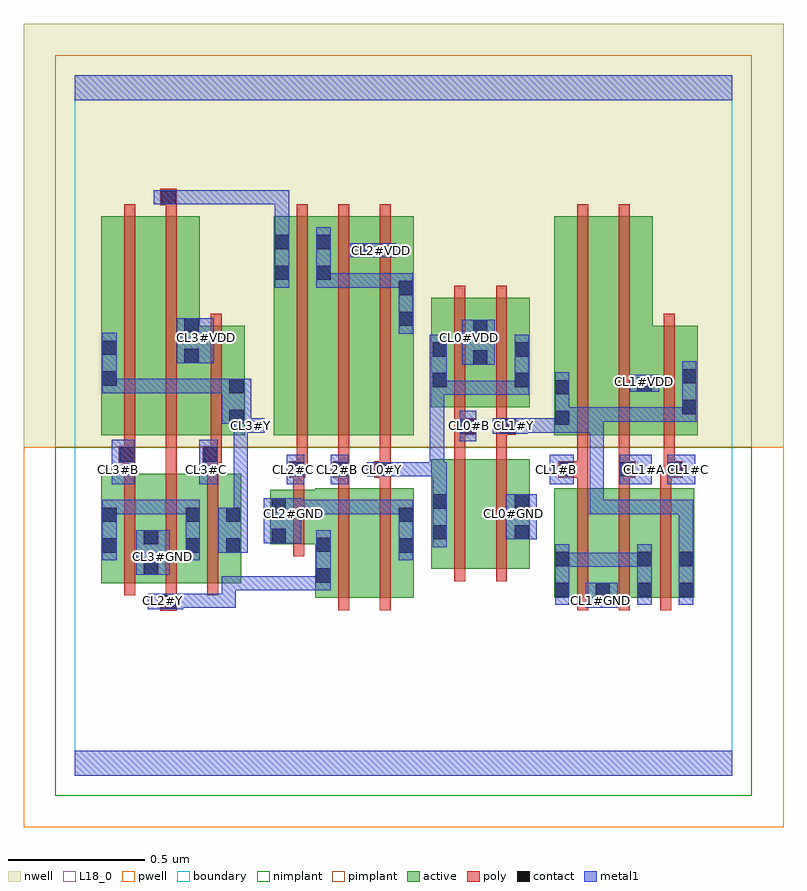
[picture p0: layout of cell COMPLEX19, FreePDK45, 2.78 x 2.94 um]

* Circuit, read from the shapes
.subckt COMPLEX19 CL0#B CL0#GND CL0#VDD CL0#Y CL1#A CL1#B CL1#C CL1#GND CL1#VDD CL1#Y CL2#B CL2#C CL2#GND CL2#VDD CL2#Y CL3#B CL3#C CL3#GND CL3#VDD CL3#Y
M1 CL3#GND CL3#B n1 VSUBS nfet w=0.4u l=0.04u
M2 n1 CL2#Y CL3#GND VSUBS nfet w=0.4u l=0.04u
M3 CL3#Y CL3#C n1 VSUBS nfet w=0.4u l=0.04u
M4 CL2#Y CL2#C CL2#GND VSUBS nfet w=0.2u l=0.04u
M5 n2 CL2#B CL2#Y VSUBS nfet w=0.4u l=0.04u
M6 CL2#GND CL0#Y n2 VSUBS nfet w=0.4u l=0.04u
M7 n3 CL0#B CL0#Y VSUBS nfet w=0.4u l=0.04u
M8 CL0#GND CL1#Y n3 VSUBS nfet w=0.4u l=0.04u
M9 CL1#GND CL1#B n4 VSUBS nfet w=0.4u l=0.04u
M10 n4 CL1#A CL1#GND VSUBS nfet w=0.4u l=0.04u
M11 CL1#Y CL1#C n4 VSUBS nfet w=0.4u l=0.04u
M12 n5 CL3#B CL3#Y n6 pfet w=0.8u l=0.04u
M13 CL3#VDD CL2#Y n5 n6 pfet w=0.8u l=0.04u
M14 CL3#Y CL3#C CL3#VDD n6 pfet w=0.4u l=0.04u
M15 n7 CL2#C CL2#Y n6 pfet w=0.8u l=0.04u
M16 CL2#VDD CL2#B n7 n6 pfet w=0.8u l=0.04u
M17 n7 CL0#Y CL2#VDD n6 pfet w=0.8u l=0.04u
M18 CL0#VDD CL0#B CL0#Y n6 pfet w=0.4u l=0.04u
M19 CL0#Y CL1#Y CL0#VDD n6 pfet w=0.4u l=0.04u
M20 n8 CL1#B CL1#Y n6 pfet w=0.8u l=0.04u
M21 CL1#VDD CL1#A n8 n6 pfet w=0.8u l=0.04u
M22 CL1#Y CL1#C CL1#VDD n6 pfet w=0.4u l=0.04u
.ends

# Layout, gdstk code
import gdstk
lib = gdstk.Library(unit=1e-6, precision=1e-09)
def R(c, l, rs):  # rectangles x0, y0, x1, y1
    for r in rs: c.add(gdstk.rectangle(r[:2], r[2:], *l))
def A(c, l, x, y, w, h, nx, ny, dx, dy):  # array of equal rectangles
    R(c, l, [(x+i*dx, y+j*dy, x+i*dx+w, y+j*dy+h) for i in range(nx) for j in range(ny)])
active = (1, 0)
pwell = (2, 0)
nwell = (3, 0)
nimplant = (4, 0)
pimplant = (5, 0)
poly = (9, 0)
contact = (10, 0)
metal1 = (11, 0)
L18_0 = (18, 0)
boundary = (235, 0)

complex19 = lib.new_cell('COMPLEX19')
A(complex19, active, 1.898, 0.65, 0.06, 0.4, 3, 1, 0.152, 0)
R(complex19, active, [(0.878,0.65,1.058,1.05), (0.878,0.65,0.938,0.874), (1.058,0.65,1.238,1.05), (1.75,0.65,1.81,1.05), (1.75,0.65,1.958,1.05), (1.898,0.65,2.11,1.05), (2.05,0.65,2.262,1.05), (0.096,0.704,0.308,1.104), (0.248,0.704,0.46,1.104), (0.4,0.704,0.608,1.104), (0.248,0.73,0.308,1.104), (0.096,0.756,0.156,1.104), (0.4,0.756,0.46,1.104), (0.548,0.756,0.608,1.104), (1.178,0.756,1.238,1.05), (1.302,0.756,1.362,1.156), (1.302,0.756,1.482,1.156), (1.482,0.756,1.662,1.156), (1.602,0.756,1.662,1.156), (0.714,0.846,0.938,1.046), (0.714,0.846,0.774,1.046), (0.096,1.244,0.276,2.044), (0.096,1.244,0.156,2.044), (0.276,1.244,0.456,2.044), (0.396,1.244,0.62,1.644), (0.396,1.244,0.456,1.676), (0.56,1.244,0.62,1.644), (0.726,1.244,0.786,2.044), (0.726,1.244,0.938,2.044), (0.878,1.244,1.09,2.044), (1.03,1.244,1.238,2.044), (1.178,1.244,1.238,2.044), (1.75,1.244,1.93,2.044), (1.75,1.244,1.81,2.044), (1.93,1.244,2.11,2.044), (2.05,1.244,2.11,1.644), (2.05,1.244,2.274,1.644), (2.214,1.244,2.274,1.644), (1.302,1.346,1.362,1.746), (1.302,1.346,1.51,1.746), (1.45,1.346,1.662,1.746), (1.45,1.346,1.51,1.67), (1.602,1.346,1.662,1.644), (0.878,1.686,0.938,2.044), (1.03,1.686,1.09,2.044)])
R(complex19, pwell, [(-0.188,-0.188,2.588,1.2)])
R(complex19, nwell, [(-0.188,1.2,2.588,2.748)])
R(complex19, nimplant, [(-0.072,-0.072,2.472,1.2)])
R(complex19, pimplant, [(-0.072,1.2,2.472,2.632)])
A(complex19, poly, 1.834, 0.606, 0.04, 0.488, 3, 1, 0.152, 0)
A(complex19, poly, 0.18, 0.66, 0.04, 0.488, 3, 1, 0.152, 0)
A(complex19, poly, 1.834, 1.054, 0.04, 0.076, 3, 1, 0.152, 0)
A(complex19, poly, 0.18, 1.108, 0.04, 0.076, 3, 1, 0.152, 0)
A(complex19, poly, 0.81, 1.11, 0.04, 0.13, 3, 1, 0.152, 0)
A(complex19, poly, 0.81, 1.2, 0.04, 0.888, 3, 1, 0.152, 0)
R(complex19, poly, [(0.312,0.604,0.372,0.664), (0.962,0.606,1.002,1.094), (1.114,0.606,1.154,1.094), (0.332,0.624,0.372,0.7), (1.386,0.712,1.426,1.2), (1.538,0.712,1.578,1.2), (0.798,0.802,0.838,1.09), (0.798,1.05,0.838,1.13), (0.962,1.054,1.002,1.13), (1.114,1.054,1.154,1.13), (0.782,1.09,0.842,1.15), (0.942,1.09,1.002,1.15), (0.962,1.09,1.002,1.13), (0.962,1.09,1.002,1.13), (1.094,1.09,1.154,1.15), (1.766,1.09,1.874,1.15), (1.986,1.09,2.026,1.13), (1.986,1.09,2.026,1.13), (1.986,1.09,2.046,1.15), (2.138,1.09,2.19,1.13), (2.15,1.09,2.19,1.13), (2.15,1.09,2.22,1.15), (0.802,1.11,0.842,1.15), (0.802,1.11,0.85,1.15), (1.114,1.11,1.154,1.15), (1.114,1.11,1.154,1.15), (1.834,1.11,1.874,1.24), (1.834,1.11,1.874,1.15), (1.834,1.11,1.874,1.15), (1.986,1.11,2.026,1.24), (2.15,1.11,2.19,1.24), (0.16,1.144,0.22,1.204), (0.18,1.144,0.22,1.184), (0.18,1.144,0.22,1.184), (0.332,1.144,0.372,1.184), (0.332,1.144,0.372,1.184), (0.332,1.144,0.372,1.184), (0.332,1.144,0.372,1.24), (0.466,1.144,0.536,1.204), (0.484,1.144,0.524,1.184), (0.484,1.144,0.524,1.184), (1.386,1.16,1.426,1.286), (1.538,1.16,1.578,1.286), (0.18,1.164,0.22,1.24), (0.496,1.164,0.536,1.24), (0.18,1.2,0.22,2.088), (0.332,1.2,0.372,2.088), (0.496,1.2,0.536,1.688), (1.834,1.2,1.874,2.088), (1.986,1.2,2.026,2.088), (2.15,1.2,2.19,1.688), (1.386,1.246,1.426,1.286), (1.386,1.246,1.426,1.286), (1.386,1.246,1.462,1.306), (1.538,1.246,1.578,1.286), (1.538,1.246,1.578,1.286), (1.538,1.246,1.61,1.306), (1.386,1.266,1.426,1.342), (1.538,1.266,1.578,1.342), (1.386,1.302,1.426,1.79), (1.538,1.302,1.578,1.79), (0.332,2.048,0.372,2.124), (0.312,2.084,0.372,2.144)])
A(complex19, contact, 1.902, 0.654, 0.052, 0.052, 3, 1, 0.152, 0)
R(complex19, contact, [(0.316,0.608,0.368,0.66), (1.754,0.654,1.806,0.706), (0.882,0.706,0.934,0.758), (0.252,0.734,0.304,0.786), (1.754,0.766,1.806,0.818), (2.054,0.766,2.106,0.818), (2.206,0.766,2.258,0.818), (0.1,0.816,0.152,0.868), (0.404,0.816,0.456,0.868), (0.552,0.816,0.604,0.868), (1.182,0.816,1.234,0.868), (0.882,0.818,0.934,0.87), (0.252,0.846,0.304,0.898), (0.718,0.85,0.77,0.902), (1.306,0.864,1.358,0.916), (1.606,0.864,1.658,0.916), (0.1,0.928,0.152,0.98), (0.404,0.928,0.456,0.98), (0.552,0.928,0.604,0.98), (1.182,0.928,1.234,0.98), (0.718,0.962,0.77,1.014), (1.306,0.976,1.358,1.028), (1.606,0.976,1.658,1.028), (0.786,1.094,0.838,1.146), (0.946,1.094,0.998,1.146), (1.098,1.094,1.15,1.146), (1.77,1.094,1.822,1.146), (1.99,1.094,2.042,1.146), (2.164,1.094,2.216,1.146), (0.164,1.148,0.216,1.2), (0.47,1.148,0.522,1.2), (1.406,1.25,1.458,1.302), (1.554,1.25,1.606,1.302), (1.754,1.282,1.806,1.334), (0.564,1.286,0.616,1.338), (2.218,1.322,2.27,1.374), (1.754,1.394,1.806,1.446), (0.564,1.398,0.616,1.45), (2.054,1.404,2.106,1.456), (1.306,1.42,1.358,1.472), (1.606,1.42,1.658,1.472), (0.1,1.426,0.152,1.478), (2.218,1.434,2.27,1.486), (1.454,1.502,1.506,1.554), (0.4,1.508,0.452,1.56), (1.306,1.532,1.358,1.584), (1.606,1.532,1.658,1.584), (0.1,1.538,0.152,1.59), (1.454,1.614,1.506,1.666), (0.4,1.62,0.452,1.672), (1.182,1.644,1.234,1.696), (1.182,1.756,1.234,1.808), (0.73,1.812,0.782,1.864), (0.882,1.812,0.934,1.864), (1.034,1.894,1.086,1.946), (0.73,1.924,0.782,1.976), (0.882,1.924,0.934,1.976), (0.316,2.088,0.368,2.14)])
A(complex19, metal1, 0.1, 1.398, 0.052, 0.052, 3, 1, 0.11, 0)
R(complex19, metal1, [(0,0,2.4,0.092), (0.266,0.608,0.396,0.666), (0.344,0.614,0.396,0.666), (0.344,0.614,0.396,0.666), (0.344,0.614,0.588,0.666), (0.536,0.614,0.588,0.666), (0.536,0.614,0.588,0.666), (0.536,0.614,0.588,0.666), (0.536,0.614,0.588,0.73), (1.866,0.614,1.982,0.706), (1.754,0.626,1.806,0.846), (2.054,0.626,2.106,0.846), (2.206,0.626,2.258,0.846), (0.536,0.678,0.588,0.73), (0.536,0.678,0.824,0.73), (0.772,0.678,0.824,0.73), (0.772,0.678,0.824,0.73), (0.772,0.678,0.824,0.73), (0.772,0.678,0.934,0.73), (0.882,0.678,0.934,0.898), (0.224,0.734,0.346,0.898), (1.754,0.764,1.916,0.816), (1.864,0.764,1.916,0.816), (1.864,0.764,1.916,0.816), (1.864,0.764,1.916,0.816), (1.864,0.764,2.026,0.816), (1.974,0.764,2.026,0.816), (1.974,0.764,2.106,0.816), (0.1,0.788,0.152,1.008), (0.404,0.788,0.456,1.008), (1.182,0.788,1.234,1.008), (2.206,0.794,2.258,1.008), (0.524,0.816,0.632,0.98), (1.306,0.836,1.358,1.056), (0.69,0.85,0.826,1.014), (1.574,0.864,1.686,1.028), (0.58,0.928,0.632,1.306), (0.1,0.956,0.152,1.008), (0.1,0.956,0.152,1.008), (0.1,0.956,0.262,1.008), (0.21,0.956,0.262,1.008), (0.21,0.956,0.262,1.008), (0.21,0.956,0.262,1.008), (0.21,0.956,0.456,1.008), (0.774,0.956,0.826,1.008), (0.774,0.956,0.826,1.008), (0.774,0.956,0.936,1.008), (0.884,0.956,0.936,1.008), (0.884,0.956,0.936,1.008), (0.884,0.956,0.936,1.008), (0.884,0.956,1.046,1.008), (0.994,0.956,1.046,1.008), (0.994,0.956,1.234,1.008), (1.182,0.956,1.234,1.008), (1.182,0.956,1.234,1.008), (1.88,0.956,1.932,1.008), (1.88,0.956,2.106,1.008), (1.88,0.956,1.932,1.306), (2.054,0.956,2.106,1.008), (2.054,0.956,2.106,1.008), (2.054,0.956,2.106,1.008), (2.054,0.956,2.258,1.008), (2.206,0.956,2.258,1.008), (2.206,0.956,2.258,1.008), (2.206,0.956,2.258,1.008), (1.306,1.004,1.358,1.146), (0.134,1.066,0.216,1.228), (0.454,1.066,0.522,1.228), (0.774,1.066,0.838,1.174), (0.934,1.066,0.998,1.174), (1.734,1.066,1.822,1.174), (1.99,1.066,2.106,1.174), (2.164,1.066,2.266,1.174), (1.066,1.094,1.178,1.146), (1.126,1.094,1.348,1.146), (1.296,1.094,1.348,1.146), (1.296,1.094,1.348,1.146), (1.296,1.094,1.348,1.444), (1.296,1.094,1.358,1.146), (1.406,1.222,1.466,1.334), (1.526,1.25,1.654,1.306), (0.58,1.254,0.694,1.306), (0.592,1.254,0.644,1.306), (0.592,1.254,0.644,1.306), (0.592,1.254,0.644,1.338), (1.602,1.254,1.654,1.306), (1.602,1.254,1.654,1.306), (1.602,1.254,1.806,1.306), (1.754,1.254,1.806,1.306), (1.754,1.254,1.806,1.306), (1.754,1.254,1.806,1.306), (1.754,1.254,1.806,1.306), (1.754,1.254,1.806,1.474), (1.754,1.254,1.932,1.306), (1.88,1.254,1.932,1.306), (0.536,1.286,0.644,1.45), (1.754,1.294,1.806,1.346), (1.754,1.294,1.806,1.346), (1.754,1.294,1.932,1.346), (1.88,1.294,1.932,1.346), (1.88,1.294,2.042,1.346), (1.99,1.294,2.042,1.346), (1.99,1.294,2.042,1.346), (1.99,1.294,2.042,1.346), (1.99,1.294,2.27,1.346), (2.218,1.294,2.27,1.346), (2.218,1.294,2.27,1.346), (2.218,1.294,2.27,1.514), (1.296,1.392,1.348,1.444), (1.296,1.392,1.348,1.444), (1.296,1.392,1.358,1.612), (1.306,1.392,1.468,1.444), (1.416,1.392,1.468,1.444), (1.416,1.392,1.468,1.444), (1.416,1.392,1.468,1.444), (1.416,1.392,1.658,1.444), (1.606,1.392,1.658,1.444), (1.606,1.392,1.658,1.444), (1.606,1.392,1.658,1.612), (0.1,1.398,0.152,1.45), (0.1,1.398,0.152,1.618), (0.1,1.398,0.262,1.45), (0.21,1.398,0.372,1.45), (0.32,1.398,0.372,1.45), (0.32,1.398,0.372,1.45), (0.32,1.398,0.588,1.45), (0.536,1.398,0.588,1.45), (0.536,1.398,0.588,1.45), (2.026,1.404,2.134,1.466), (1.414,1.502,1.534,1.666), (0.372,1.508,0.506,1.672), (1.182,1.616,1.234,1.836), (0.73,1.784,0.782,2.004), (0.882,1.784,0.934,2.004), (0.882,1.784,1.008,1.836), (0.956,1.784,1.008,1.836), (0.956,1.784,1.124,1.836), (1.072,1.784,1.124,1.836), (1.072,1.784,1.234,1.836), (1.182,1.784,1.234,1.836), (1.182,1.784,1.234,1.836), (1.006,1.894,1.174,1.946), (0.73,1.952,0.782,2.14), (0.288,2.088,0.396,2.14), (0.344,2.088,0.396,2.14), (0.344,2.088,0.396,2.14), (0.344,2.088,0.632,2.14), (0.58,2.088,0.632,2.14), (0.58,2.088,0.632,2.14), (0.58,2.088,0.632,2.14), (0.58,2.088,0.782,2.14), (0.73,2.088,0.782,2.14), (0,2.468,2.4,2.56)])
A(complex19, L18_0, 0.134, 1.094, 0.052, 0.052, 3, 1, 0.32, 0)
A(complex19, L18_0, 0.1, 1.398, 0.052, 0.052, 3, 1, 0.11, 0)
R(complex19, L18_0, [(0,0,2.4,0.092), (0.266,0.608,0.396,0.666), (0.294,0.614,0.346,0.666), (0.344,0.614,0.396,0.666), (0.344,0.614,0.396,0.666), (0.344,0.614,0.588,0.666), (0.536,0.614,0.588,0.666), (0.536,0.614,0.588,0.666), (0.536,0.614,0.588,0.666), (0.536,0.614,0.588,0.73), (1.866,0.614,1.982,0.706), (1.894,0.614,1.946,0.666), (2.206,0.626,2.258,0.846), (0.536,0.678,0.588,0.73), (0.536,0.678,0.824,0.73), (0.772,0.678,0.824,0.73), (0.772,0.678,0.824,0.73), (0.772,0.678,0.824,0.73), (0.772,0.678,0.934,0.73), (0.882,0.678,0.934,0.898), (0.224,0.734,0.346,0.898), (0.294,0.774,0.346,0.826), (1.182,0.788,1.234,1.008), (2.206,0.794,2.258,1.008), (0.524,0.816,0.632,0.98), (1.306,0.836,1.358,1.056), (0.69,0.85,0.826,1.014), (1.574,0.864,1.686,1.028), (0.58,0.928,0.632,1.306), (0.774,0.934,0.826,0.986), (1.574,0.934,1.626,0.986), (0.774,0.956,0.826,1.008), (0.774,0.956,0.826,1.008), (0.774,0.956,0.936,1.008), (0.884,0.956,0.936,1.008), (0.884,0.956,0.936,1.008), (0.884,0.956,0.936,1.008), (0.884,0.956,1.046,1.008), (0.994,0.956,1.046,1.008), (0.994,0.956,1.234,1.008), (1.182,0.956,1.234,1.008), (1.182,0.956,1.234,1.008), (1.88,0.956,1.932,1.008), (1.88,0.956,1.932,1.306), (1.88,0.956,2.106,1.008), (2.054,0.956,2.106,1.008), (2.054,0.956,2.106,1.008), (2.054,0.956,2.106,1.008), (2.054,0.956,2.258,1.008), (2.206,0.956,2.258,1.008), (2.206,0.956,2.258,1.008), (2.206,0.956,2.258,1.008), (1.306,1.004,1.358,1.146), (0.134,1.066,0.216,1.228), (0.454,1.066,0.522,1.228), (0.774,1.066,0.838,1.174), (0.934,1.066,0.998,1.174), (1.734,1.066,1.822,1.174), (1.99,1.066,2.106,1.174), (2.164,1.066,2.266,1.174), (0.934,1.094,0.986,1.146), (1.066,1.094,1.178,1.146), (1.094,1.094,1.146,1.146), (1.126,1.094,1.348,1.146), (1.296,1.094,1.348,1.146), (1.296,1.094,1.348,1.146), (1.296,1.094,1.358,1.146), (1.296,1.094,1.348,1.444), (1.734,1.094,1.786,1.146), (2.054,1.094,2.106,1.146), (2.214,1.094,2.266,1.146), (1.406,1.222,1.466,1.334), (1.526,1.25,1.654,1.306), (0.58,1.254,0.694,1.306), (0.592,1.254,0.644,1.306), (0.592,1.254,0.644,1.306), (0.592,1.254,0.644,1.338), (0.614,1.254,0.666,1.306), (1.414,1.254,1.466,1.306), (1.574,1.254,1.626,1.306), (1.602,1.254,1.654,1.306), (1.602,1.254,1.654,1.306), (1.602,1.254,1.806,1.306), (1.754,1.254,1.806,1.474), (1.754,1.254,1.806,1.306), (1.754,1.254,1.806,1.306), (1.754,1.254,1.806,1.306), (1.754,1.254,1.806,1.306), (1.754,1.254,1.932,1.306), (1.88,1.254,1.932,1.306), (0.536,1.286,0.644,1.45), (1.754,1.294,1.806,1.346), (1.754,1.294,1.806,1.346), (1.754,1.294,1.932,1.346), (1.88,1.294,1.932,1.346), (1.88,1.294,2.042,1.346), (1.99,1.294,2.042,1.346), (1.99,1.294,2.042,1.346), (1.99,1.294,2.042,1.346), (1.99,1.294,2.27,1.346), (2.218,1.294,2.27,1.514), (2.218,1.294,2.27,1.346), (2.218,1.294,2.27,1.346), (1.296,1.392,1.348,1.444), (1.296,1.392,1.348,1.444), (1.296,1.392,1.358,1.612), (1.306,1.392,1.468,1.444), (1.416,1.392,1.468,1.444), (1.416,1.392,1.468,1.444), (1.416,1.392,1.468,1.444), (1.416,1.392,1.658,1.444), (1.606,1.392,1.658,1.612), (1.606,1.392,1.658,1.444), (1.606,1.392,1.658,1.444), (0.1,1.398,0.152,1.618), (0.1,1.398,0.152,1.45), (0.1,1.398,0.262,1.45), (0.21,1.398,0.372,1.45), (0.32,1.398,0.372,1.45), (0.32,1.398,0.372,1.45), (0.32,1.398,0.588,1.45), (0.536,1.398,0.588,1.45), (0.536,1.398,0.588,1.45), (2.026,1.404,2.134,1.466), (2.054,1.414,2.106,1.466), (1.414,1.502,1.534,1.666), (0.372,1.508,0.506,1.672), (0.454,1.574,0.506,1.626), (1.414,1.574,1.466,1.626), (0.73,1.784,0.782,2.004), (1.006,1.894,1.174,1.946), (1.094,1.894,1.146,1.946), (0.73,1.952,0.782,2.14), (0.288,2.088,0.396,2.14), (0.344,2.088,0.396,2.14), (0.344,2.088,0.396,2.14), (0.344,2.088,0.632,2.14), (0.58,2.088,0.632,2.14), (0.58,2.088,0.632,2.14), (0.58,2.088,0.632,2.14), (0.58,2.088,0.782,2.14), (0.73,2.088,0.782,2.14), (0,2.468,2.4,2.56)])
R(complex19, boundary, [(0,0,2.4,2.56)])
complex19.add(gdstk.Label('CL0#B', (1.44,1.28), layer=11, texttype=0))
complex19.add(gdstk.Label('CL0#GND', (1.6,0.96), layer=11, texttype=0))
complex19.add(gdstk.Label('CL0#VDD', (1.44,1.6), layer=11, texttype=0))
complex19.add(gdstk.Label('CL0#Y', (1.12,1.12), layer=11, texttype=0))
complex19.add(gdstk.Label('CL1#A', (2.08,1.12), layer=11, texttype=0))
complex19.add(gdstk.Label('CL1#B', (1.76,1.12), layer=11, texttype=0))
complex19.add(gdstk.Label('CL1#C', (2.24,1.12), layer=11, texttype=0))
complex19.add(gdstk.Label('CL1#GND', (1.92,0.64), layer=11, texttype=0))
complex19.add(gdstk.Label('CL1#VDD', (2.08,1.44), layer=11, texttype=0))
complex19.add(gdstk.Label('CL1#Y', (1.6,1.28), layer=11, texttype=0))
complex19.add(gdstk.Label('CL2#B', (0.96,1.12), layer=11, texttype=0))
complex19.add(gdstk.Label('CL2#C', (0.8,1.12), layer=11, texttype=0))
complex19.add(gdstk.Label('CL2#GND', (0.8,0.96), layer=11, texttype=0))
complex19.add(gdstk.Label('CL2#VDD', (1.12,1.92), layer=11, texttype=0))
complex19.add(gdstk.Label('CL2#Y', (0.32,0.64), layer=11, texttype=0))
complex19.add(gdstk.Label('CL3#B', (0.16,1.12), layer=11, texttype=0))
complex19.add(gdstk.Label('CL3#C', (0.48,1.12), layer=11, texttype=0))
complex19.add(gdstk.Label('CL3#GND', (0.32,0.8), layer=11, texttype=0))
complex19.add(gdstk.Label('CL3#VDD', (0.48,1.6), layer=11, texttype=0))
complex19.add(gdstk.Label('CL3#Y', (0.64,1.28), layer=11, texttype=0))

lib.write_gds('COMPLEX19.gds')
